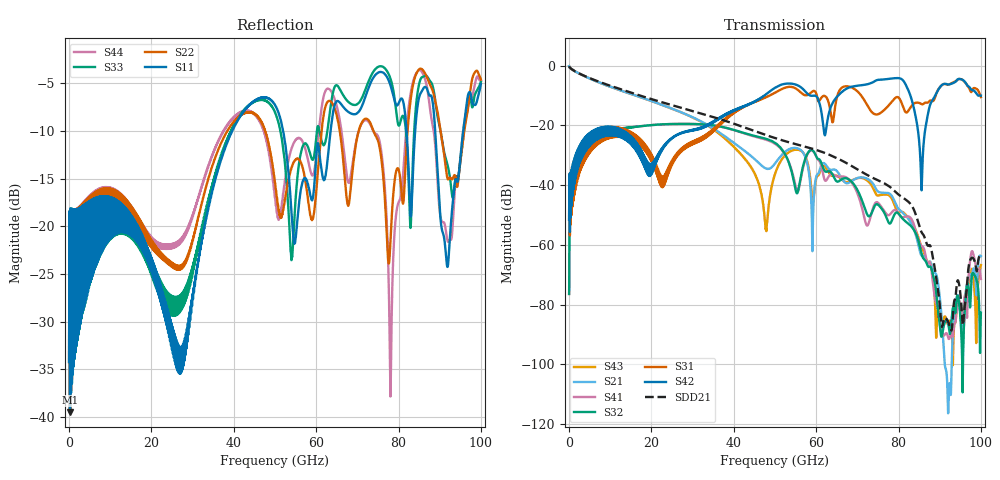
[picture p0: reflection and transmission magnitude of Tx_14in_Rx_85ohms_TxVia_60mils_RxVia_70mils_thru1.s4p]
! Info: Touchstone file created by Circ.  Input file=Tx_14in_Rx_85ohms_TxVia_60mils_RxVia_70mils.circ
# Hz S RI R 50
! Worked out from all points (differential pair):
!   10000 points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, 10 MHz to 100 GHz, reference 50 ohm
!   strongest paths, dB at 10 MHz, 25.01 GHz, 50.01 GHz, 75.01 GHz, 100 GHz:
!     S42: -51.6, -24.3, -7.4, -4.7, -10.0
!     S31: -51.6, -33.2, -9.0, -16.3, -10.5
!     S32: -76.4, -19.5, -25.8, -46.5, -82.7
!     S41: -76.4, -19.5, -26.1, -45.9, -71.4
!     S21: -0.1, -14.4, -32.7, -42.1, -63.8
!     S43: -0.1, -14.4, -36.2, -43.5, -66.8
!   taken as a pair (ports 1,3 in; 2,4 out), SDD21 dB: -0.1, -13.2, -24.2, -38.4, -63.8
!   lowest |S11| = -39.5 dB at 230 MHz (marker M1), VSWR 1.02, Z = 49.2 - j0.706 ohm
!   |S11| at or under -10 dB: start of sweep to 39.58 GHz; 51.97 GHz to 63.49 GHz (11.52 GHz wide, 20 % of centre); 88.91 GHz to 95.7 GHz (6.794 GHz wide, 7.36 % of centre)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
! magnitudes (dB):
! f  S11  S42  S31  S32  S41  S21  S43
! 10 MHz  -34.2  -51.6  -51.6  -76.4  -76.4  -0.1  -0.1
! 230 MHz  -39.5  -43.4  -43.4  -47.4  -47.4  -0.7  -0.7
! 5.34 GHz  -18.2  -25.2  -26.5  -23.6  -23.6  -4.5  -4.5
! 36.32 GHz  -13.8  -17.9  -20.2  -20.3  -20.3  -22.2  -22.7
! 78.07 GHz  -5.2  -4.3  -12.6  -52.7  -49.6  -43.1  -43.9
! 85.57 GHz  -5.9  -41.6  -12.9  -62.8  -60.3  -63.6  -60.6
! 100 GHz  -5.1  -10.0  -10.5  -82.7  -71.4  -63.8  -66.8
